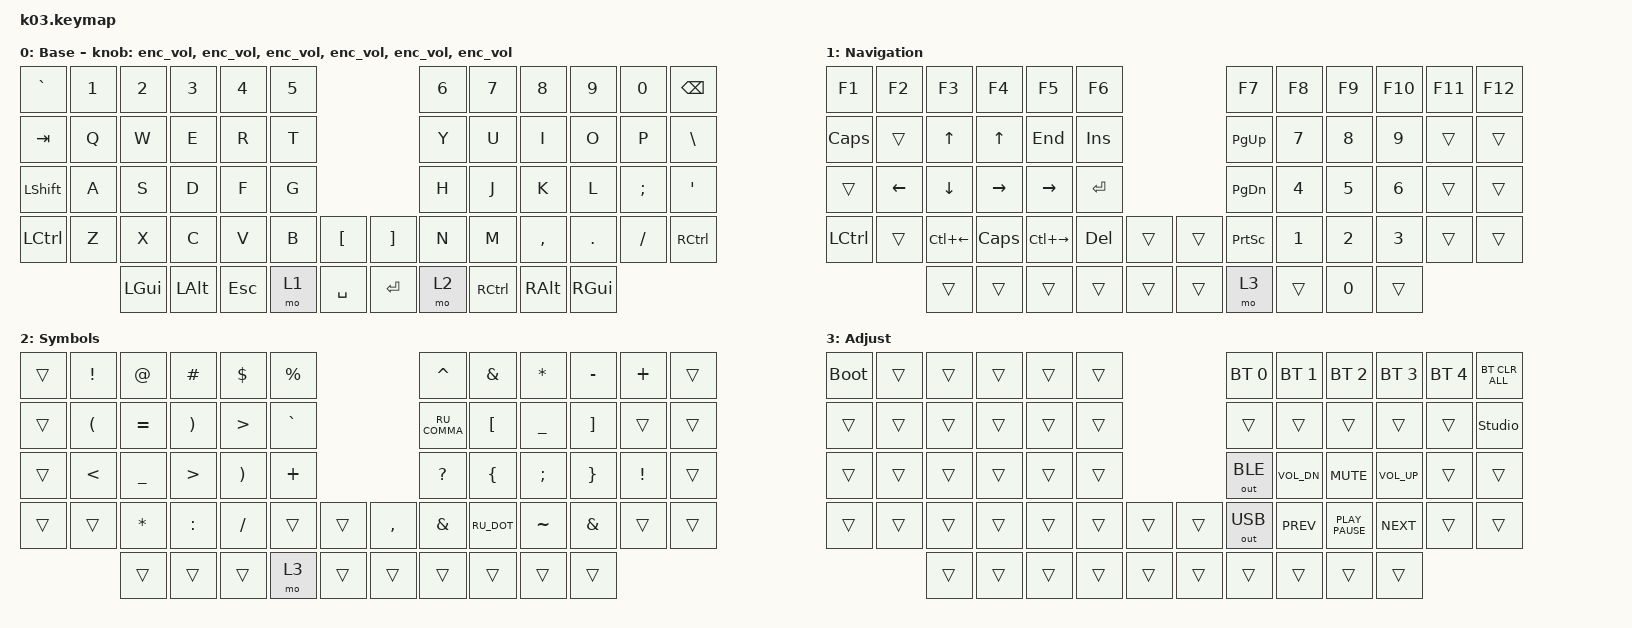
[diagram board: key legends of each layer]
#include "keys_ru.h"
#include <behaviors.dtsi>
#include <dt-bindings/zmk/bt.h>
#include <dt-bindings/zmk/keys.h>
#include <dt-bindings/zmk/outputs.h>

/ {
    behaviors {
        enc_vol: enc_vol {
            compatible = "zmk,behavior-sensor-rotate";
            label = "ENC_VOL";
            #sensor-binding-cells = <0>;
            bindings = <&kp C_VOL_UP>, <&kp C_VOL_DN>;
        };
    };

    keymap {
        compatible = "zmk,keymap";

        base {
            bindings = <
&kp GRAVE         &kp N1  &kp N2    &kp N3    &kp N4   &kp N5                          &kp N6  &kp N7     &kp N8     &kp N9    &kp N0    &kp BSPC
&kp TAB           &kp Q   &kp W     &kp E     &kp R    &kp T                           &kp Y   &kp U      &kp I      &kp O     &kp P     &kp BSLH
&kp LEFT_SHIFT    &kp A   &kp S     &kp D     &kp F    &kp G                           &kp H   &kp J      &kp K      &kp L     &kp SEMI  &kp SQT
&kp LEFT_CONTROL  &kp Z   &kp X     &kp C     &kp V    &kp B   &kp LBKT     &kp RBKT   &kp N   &kp M      &kp COMMA  &kp DOT   &kp FSLH  &kp RIGHT_CONTROL
                          &kp LGUI  &kp LALT  &kp ESC  &mo 1   &kp SPACE    &kp ENTER  &mo 2   &kp RCTRL  &kp RALT   &kp RGUI
            >;

            display-name = "Base";
            sensor-bindings =
                <&enc_vol>,
                <&enc_vol>,
                <&enc_vol>,
                <&enc_vol>,
                <&enc_vol>,
                <&enc_vol>;
        };

        nav {
            bindings = <
&kp F1            &kp F2          &kp F3          &kp F4           &kp F5         &kp F6                     &kp F7           &kp F8  &kp F9  &kp F10  &kp F11  &kp F12
&kp CAPS          &trans          &kp UP_ARROW    &kp UP           &kp END        &kp INS                    &kp PG_UP        &kp N7  &kp N8  &kp N9   &trans   &trans
&trans            &kp LEFT_ARROW  &kp DOWN_ARROW  &kp RIGHT_ARROW  &kp RIGHT      &kp RET                    &kp PG_DN        &kp N4  &kp N5  &kp N6   &trans   &trans
&kp LEFT_CONTROL  &trans          &kp LC(LEFT)    &kp CAPS         &kp LC(RIGHT)  &kp DEL  &trans    &trans  &kp PRINTSCREEN  &kp N1  &kp N2  &kp N3   &trans   &trans
                                  &trans          &trans           &trans         &trans   &trans    &trans  &mo 3            &trans  &kp N0  &trans
            >;

            display-name = "Navigation";
        };

        sym {
            bindings = <
&trans  &kp EXCLAMATION  &kp AT     &kp HASH   &kp DOLLAR  &kp PERCENT                       &kp CARET      &kp AMPERSAND  &kp STAR        &kp MINUS  &kp PLUS  &trans
&trans  &kp LPAR         &kp EQUAL  &kp RPAR   &kp GT      &kp GRAVE                         &kp RU_COMMA   &kp LBKT       &kp UNDERSCORE  &kp RBKT   &trans    &trans
&trans  &kp LT           &kp UNDER  &kp GT     &kp RPAR    &kp PLUS                          &kp QUESTION   &kp LBRC       &kp SEMI        &kp RBRC   &kp EXCL  &trans
&trans  &trans           &kp STAR   &kp COLON  &kp FSLH    &trans       &trans    &kp COMMA  &kp AMPERSAND  &kp RU_DOT     &kp TILDE       &kp AMPS   &trans    &trans
                         &trans     &trans     &trans      &mo 3        &trans    &trans     &trans         &trans         &trans          &trans
            >;

            display-name = "Symbols";
        };

        adj {
            bindings = <
&bootloader  &trans  &trans  &trans  &trans  &trans                    &bt BT_SEL 0  &bt BT_SEL 1  &bt BT_SEL 2      &bt BT_SEL 3  &bt BT_SEL 4  &bt BT_CLR_ALL
&trans       &trans  &trans  &trans  &trans  &trans                    &trans        &trans        &trans            &trans        &trans        &studio_unlock
&trans       &trans  &trans  &trans  &trans  &trans                    &out OUT_BLE  &kp C_VOL_DN  &kp K_MUTE        &kp C_VOL_UP  &trans        &trans
&trans       &trans  &trans  &trans  &trans  &trans  &trans    &trans  &out OUT_USB  &kp K_PREV    &kp K_PLAY_PAUSE  &kp K_NEXT    &trans        &trans
                     &trans  &trans  &trans  &trans  &trans    &trans  &trans        &trans        &trans            &trans
            >;

            display-name = "Adjust";
        };
    };
};
